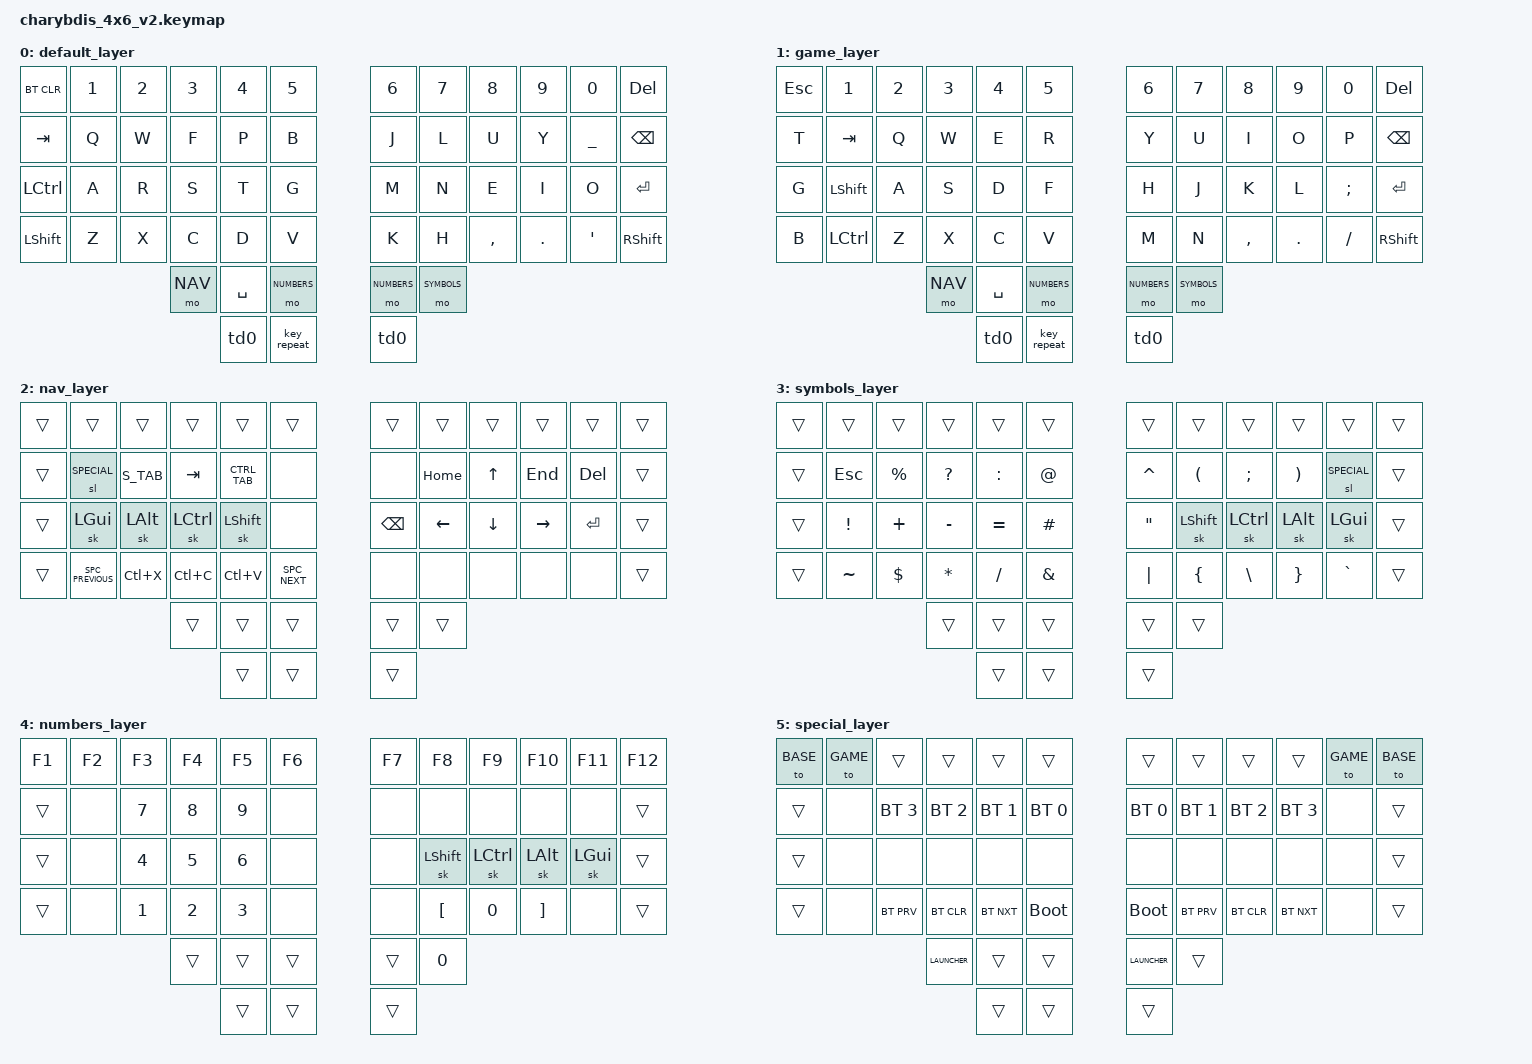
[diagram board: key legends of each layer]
/*
 * Copyright (c) 2020 The ZMK Contributors
 *
 * SPDX-License-Identifier: MIT
 */

#include <behaviors.dtsi>
#include <dt-bindings/zmk/keys.h>
#include <dt-bindings/zmk/bt.h>

#define BASE 0
#define GAME 1
#define NAV 2
#define SYMBOLS 3
#define NUMBERS 4
#define SPECIAL 5

#define LAUNCHER (LG(TAB))
#define CTRL_TAB (LC(TAB))
#define C_S_TAB (LC(LS(TAB)))

#define SPC_PREVIOUS (LC(LG(LEFT)))
#define S_PRV SPC_PREVIOUS

#define SPC_NEXT (LC(LG(RIGHT)))
#define S_NXT SPC_NEXT

&sk {
  release-after-ms = <2000>;
  quick-release;
};

/ {

  chosen {
    zmk,battery = &vbatt;
  };

  vbatt: vbatt {
      compatible = "zmk,battery-nrf-vddh";
      label = "VBATT";
  };
/*
 *  conditional_layers {
 *      compatible = "zmk,conditional-layers";
 *      tri_layer {
 *          if-layers = <2 3>;
 *          then-layer = <4>;
 *      };
 *  };
*/

  behaviors {
      td0: tap_dance_smart_shift {
          compatible = "zmk,behavior-tap-dance";
          label = "TAP_DANCE_SMART_SHIFT";
          #binding-cells = <0>;
          tapping-term-ms = <200>;
          bindings = <&sk LSHIFT>, <&caps_word>;
      };
  };

  keymap {
    compatible = "zmk,keymap";

    default_layer {
      bindings = <
      &bt BT_CLR   &kp       N1 &kp       N2 &kp       N3 &kp       N4 &kp       N5                 &kp       N6 &kp       N7 &kp       N8 &kp       N9 &kp       N0 &kp      DEL
      &kp      TAB &kp        Q &kp        W &kp        F &kp        P &kp        B                 &kp        J &kp        L &kp        U &kp        Y &kp    UNDER &kp     BSPC
      &kp    LCTRL &kp        A &kp        R &kp        S &kp        T &kp        G                 &kp        M &kp        N &kp        E &kp        I &kp        O &kp    ENTER
      &kp   LSHIFT &kp        Z &kp        X &kp        C &kp        D &kp        V                 &kp        K &kp        H &kp    COMMA &kp   PERIOD &kp     APOS &kp    RSHFT
                                             &mo      NAV &kp    SPACE &mo  NUMBERS                 &mo  NUMBERS &mo  SYMBOLS
                                                          &td0         &key_repeat                  &td0
      >;
    };

    game_layer {
      bindings = <
      &kp      ESC &kp       N1 &kp       N2 &kp       N3 &kp       N4 &kp       N5                 &kp       N6 &kp       N7 &kp       N8 &kp       N9 &kp       N0 &kp      DEL
      &kp        T &kp      TAB &kp        Q &kp        W &kp        E &kp        R                 &kp        Y &kp        U &kp        I &kp        O &kp        P &kp     BSPC
      &kp        G &kp   LSHIFT &kp        A &kp        S &kp        D &kp        F                 &kp        H &kp        J &kp        K &kp        L &kp     SEMI &kp    ENTER
      &kp        B &kp    LCTRL &kp        Z &kp        X &kp        C &kp        V                 &kp        M &kp        N &kp    COMMA &kp   PERIOD &kp    SLASH &kp    RSHFT
                                             &mo      NAV &kp    SPACE &mo  NUMBERS                 &mo  NUMBERS &mo  SYMBOLS
                                                          &td0         &key_repeat                  &td0
      >;
    };

    nav_layer {
      bindings = <
      &trans       &trans       &trans       &trans       &trans       &trans                       &trans       &trans       &trans       &trans       &trans       &trans
      &trans       &sl  SPECIAL &kp  C_S_TAB &kp      TAB &kp CTRL_TAB &none                        &none        &kp     HOME &kp       UP &kp      END &kp      DEL &trans
      &trans       &sk     LGUI &sk     LALT &sk    LCTRL &sk   LSHIFT &none                        &kp     BSPC &kp     LEFT &kp     DOWN &kp    RIGHT &kp    ENTER &trans
      &trans       &kp    S_PRV &kp    LC(X) &kp    LC(C) &kp    LC(V) &kp    S_NXT                 &none        &none        &none        &none        &none        &trans
                                             &trans       &trans       &trans                       &trans       &trans
                                                          &trans       &trans                       &trans
      >;
    };

    symbols_layer {
      bindings = <
      &trans       &trans       &trans       &trans       &trans       &trans                       &trans       &trans       &trans       &trans       &trans       &trans
      &trans       &kp      ESC &kp    PRCNT &kp    QMARK &kp    COLON &kp       AT                 &kp    CARET &kp     LPAR &kp     SEMI &kp     RPAR &sl  SPECIAL &trans
      &trans       &kp     EXCL &kp     PLUS &kp    MINUS &kp    EQUAL &kp     HASH                 &kp      DQT &sk   LSHIFT &sk    LCTRL &sk     LALT &sk     LGUI &trans
      &trans       &kp    TILDE &kp   DOLLAR &kp    ASTRK &kp    SLASH &kp     AMPS                 &kp     PIPE &kp     LBRC &kp     BSLH &kp     RBRC &kp    GRAVE &trans
                                             &trans       &trans       &trans                       &trans       &trans
                                                          &trans       &trans                       &trans
      >;
    };

    numbers_layer {
      bindings = <
      &kp       F1 &kp       F2 &kp       F3 &kp       F4 &kp       F5 &kp       F6                 &kp       F7 &kp       F8 &kp       F9 &kp      F10 &kp      F11 &kp      F12
      &trans       &none        &kp       N7 &kp       N8 &kp       N9 &none                        &none        &none        &none        &none        &none        &trans
      &trans       &none        &kp       N4 &kp       N5 &kp       N6 &none                        &none        &sk   LSHIFT &sk    LCTRL &sk     LALT &sk     LGUI &trans
      &trans       &none        &kp       N1 &kp       N2 &kp       N3 &none                        &none        &kp     LBKT &kp       N0 &kp     RBKT &none        &trans
                                             &trans       &trans       &trans                       &trans       &kp       N0
                                                          &trans       &trans                       &trans
      >;
    };

    special_layer {
      bindings = <
      &to BASE     &to GAME     &trans       &trans       &trans       &trans                       &trans       &trans       &trans       &trans       &to GAME     &to BASE
      &trans       &none        &bt BT_SEL 3 &bt BT_SEL 2 &bt BT_SEL 1 &bt BT_SEL 0                 &bt BT_SEL 0 &bt BT_SEL 1 &bt BT_SEL 2 &bt BT_SEL 3 &none        &trans
      &trans       &none        &none        &none        &none        &none                        &none        &none        &none        &none        &none        &trans
      &trans       &none        &bt   BT_PRV &bt   BT_CLR &bt   BT_NXT &bootloader                  &bootloader  &bt   BT_PRV &bt   BT_CLR &bt   BT_NXT &none        &trans
                                             &kp LAUNCHER &trans       &trans                       &kp LAUNCHER &trans
                                                          &trans       &trans                       &trans
      >;
    };

  };

};
